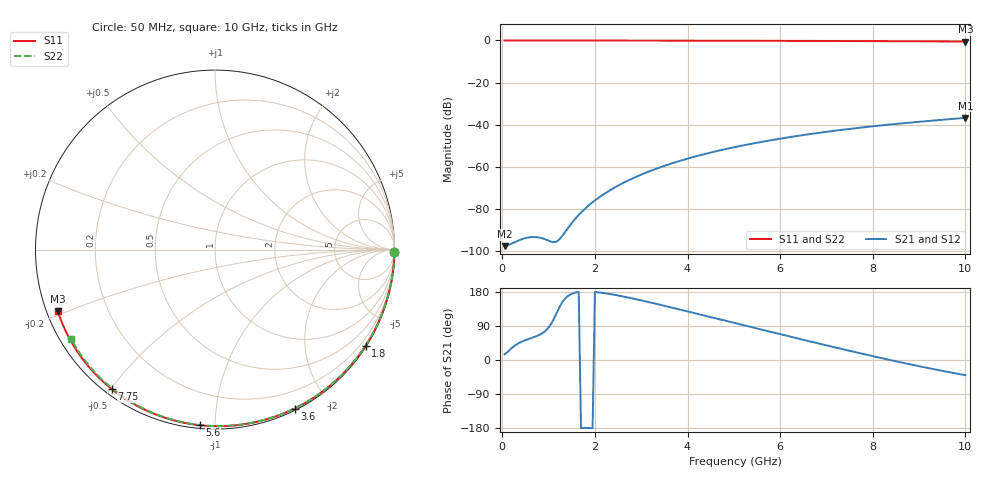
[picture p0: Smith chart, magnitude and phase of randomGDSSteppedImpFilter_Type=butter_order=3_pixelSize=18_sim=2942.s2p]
! freq	dB(S11)	phase(S11)	dB(S12)	phase(S12)
!  dB(S21)	phase(S21)	dB(S22)	phase(S22)
!S-par simulation data
#  GHz  S  DB  R 50
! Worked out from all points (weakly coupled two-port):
!   200 points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, 50 MHz to 10 GHz, reference 50 ohm
!   highest |S21| = -36.80 dB at 10 GHz (marker M1); lowest = -97.8 dB at 50 MHz (marker M2)
!   lowest |S11| = -0.5 dB at 10 GHz (marker M3), VSWR 33.00, Z = 1.57 - j9.43 ohm
!   |S11| at or under -10 dB: nowhere
!   |S22| runs from -0.5 to 0.0 dB; largest |S21 - S12| = 0
!   S11 on the Smith chart (normalised r, x): 50 MHz: open; 1.8 GHz: 0.03, -3.42; 3.6 GHz: 0.02, -1.62; 5.6 GHz: 0.02, -0.92; 7.75 GHz: 0.02, -0.50; 10 GHz: 0.03, -0.19
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0.05  -0.00 -0.9  -97.82 14.9  -97.82 14.9  -0.00 -0.9
0.45  -0.01 -8.3  -94.30 49.9  -94.30 49.9  -0.01 -7.7
0.9  -0.02 -16.5  -94.34 73.8  -94.34 73.8  -0.02 -15.3
1.3  -0.03 -23.7  -92.80 153.3  -92.80 153.3  -0.03 -22.0
1.75  -0.04 -31.7  -80.74 -179.3  -80.74 -179.3  -0.04 -29.5
1.8  -0.04 -32.6  -79.72 -179.2  -79.72 -179.2  -0.04 -30.3
1.95  -0.04 -35.2  -76.92 -179.9  -76.92 -179.9  -0.04 -32.8
2.1  -0.05 -37.9  -74.46 178.2  -74.46 178.2  -0.04 -35.2
2.3  -0.05 -41.3  -71.58 174.6  -71.58 174.6  -0.05 -38.5
2.5  -0.06 -44.8  -69.05 170.2  -69.05 170.2  -0.05 -41.7
2.9  -0.07 -51.7  -64.75 160.1  -64.75 160.1  -0.06 -48.1
3.4  -0.08 -60.1  -60.40 146.0  -60.40 146.0  -0.07 -56.0
3.6  -0.08 -63.4  -58.89 140.1  -58.89 140.1  -0.08 -59.1
4.3  -0.11 -74.8  -54.40 119.2  -54.40 119.2  -0.10 -69.8
5.05  -0.13 -86.6  -50.57 96.5  -50.57 96.5  -0.12 -80.8
5.6  -0.16 -95.0  -48.22 80.0  -48.22 80.0  -0.15 -88.7
6.15  -0.18 -103.2  -46.16 63.6  -46.16 63.6  -0.17 -96.4
6.7  -0.22 -111.3  -44.34 47.4  -44.34 47.4  -0.20 -104.0
7.75  -0.29 -126.4  -41.42 17.1  -41.42 17.1  -0.27 -118.1
8.35  -0.34 -135.0  -40.02 0.6  -40.02 0.6  -0.32 -126.0
9.2  -0.43 -147.1  -38.29 -21.4  -38.29 -21.4  -0.41 -137.3
10  -0.53 -158.6  -36.80 -40.0  -36.80 -40.0  -0.51 -148.2
